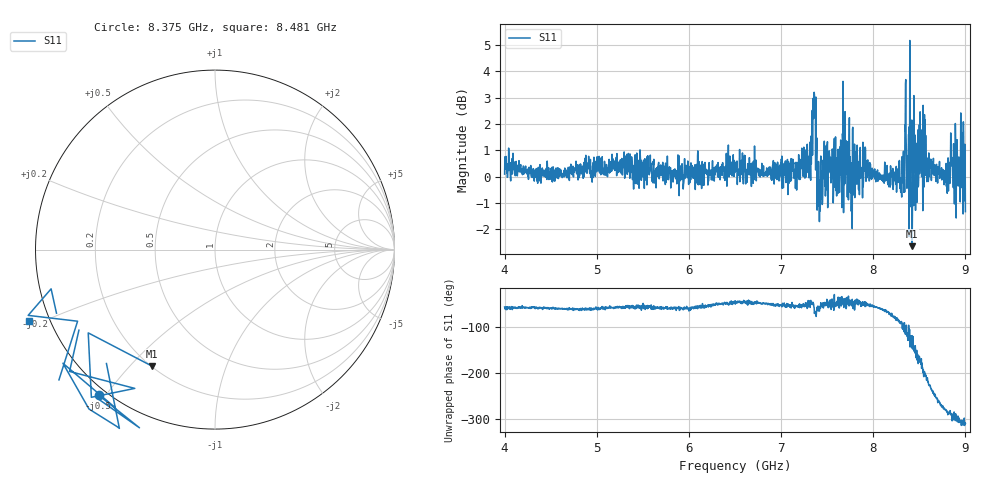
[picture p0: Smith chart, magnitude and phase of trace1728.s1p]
! Created with skrf 1.8.0 (http://scikit-rf.org).
# Hz S RI R 50.0
!freq ReS11 ImS11
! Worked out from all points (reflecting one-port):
!   1601 points, 4 GHz to 9 GHz, reference 50 ohm
!   lowest |S11| = -2.6 dB at 8.422 GHz (marker M1), VSWR 6.63, Z = 10.2 - j29 ohm
!   phase of S11 starts at -56 deg and turns -254 deg over the sweep
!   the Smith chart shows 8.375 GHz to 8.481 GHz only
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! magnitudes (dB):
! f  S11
! 4 GHz  0.1
! 4.625 GHz  0.0
! 5.25 GHz  0.2
! 5.875 GHz  0.2
! 6.5 GHz  0.4
! 7.125 GHz  0.7
! 7.297 GHz  0.3
! 7.316 GHz  0.5
! 7.353 GHz  2.2
! 7.369 GHz  2.9
! 7.4 GHz  0.4
! 7.428 GHz  0.4
! 7.478 GHz  0.7
! 7.619 GHz  1.0
! 7.691 GHz  -0.3
! 7.75 GHz  0.8
! 8.316 GHz  0.1
! 8.334 GHz  -0.1
! 8.375 GHz  0.3
! 8.412 GHz  0.5
! 8.422 GHz  -2.6
! 8.447 GHz  1.5
! 8.459 GHz  -1.3
! 8.522 GHz  0.9
! 8.606 GHz  0.0
! 8.778 GHz  -0.2
! 8.972 GHz  0.6
! 9 GHz  -1.3
